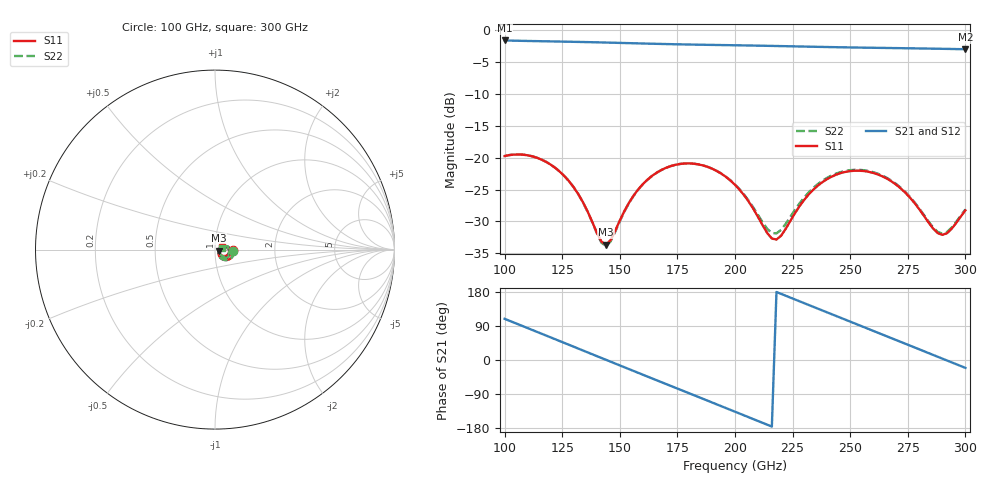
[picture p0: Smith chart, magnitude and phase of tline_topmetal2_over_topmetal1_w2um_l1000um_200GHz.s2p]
#  GHZ S DB R 50
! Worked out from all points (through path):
!   101 points, 100 GHz to 300 GHz, reference 50 ohm
!   highest |S21| = -1.64 dB at 100 GHz (marker M1); lowest = -3.0 dB at 300 GHz (marker M2)
!   group delay of S21, straight-line fit = 6.8 ps
!   lowest |S11| = -33.7 dB at 144 GHz (marker M3), VSWR 1.04, Z = 52.1 - j0.536 ohm
!   |S11| at or under -10 dB: start of sweep to end of sweep
!   |S22| runs from -33.9 to -19.5 dB; largest |S21 - S12| = 9.5e-14
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100  -19.76 -2.6  -1.64 108.7  -1.64 108.7  -19.75 -3.0
108  -19.54 -18.3  -1.70 89.1  -1.70 89.1  -19.53 -18.8
116  -20.31 -33.7  -1.76 69.5  -1.76 69.5  -20.30 -34.3
126  -22.91 -50.6  -1.82 44.9  -1.82 44.9  -22.90 -51.3
134  -26.99 -57.2  -1.88 25.1  -1.88 25.1  -27.00 -58.2
142  -33.15 -31.7  -1.95 5.4  -1.95 5.4  -33.32 -32.9
144  -33.65 -14.3  -1.97 0.5  -1.97 0.5  -33.88 -15.0
156  -25.94 23.4  -2.08 -29.0  -2.08 -29.0  -25.99 23.7
168  -21.94 7.8  -2.18 -58.3  -2.18 -58.3  -21.96 8.1
176  -21.00 -6.2  -2.25 -77.8  -2.25 -77.8  -21.01 -5.9
184  -21.05 -20.7  -2.30 -97.3  -2.30 -97.3  -21.05 -20.3
200  -24.26 -45.8  -2.39 -136.5  -2.39 -136.5  -24.21 -44.4
210  -29.31 -46.8  -2.45 -161.0  -2.45 -161.0  -29.00 -43.9
218  -32.84 -9.8  -2.51 179.4  -2.51 179.4  -31.88 -9.6
234  -25.02 18.3  -2.62 140.3  -2.62 140.3  -24.75 15.3
244  -22.66 4.8  -2.69 115.9  -2.69 115.9  -22.49 2.2
252  -22.05 -8.4  -2.74 96.4  -2.74 96.4  -21.91 -10.8
268  -23.74 -33.5  -2.83 57.4  -2.83 57.4  -23.63 -35.6
278  -27.15 -41.3  -2.88 33.0  -2.88 33.0  -27.04 -43.3
288  -31.84 -20.2  -2.94 8.5  -2.94 8.5  -31.65 -22.3
292  -31.86 -0.2  -2.96 -1.3  -2.96 -1.3  -31.66 -2.7
300  -28.27 20.1  -3.01 -20.8  -3.01 -20.8  -28.12 17.3
